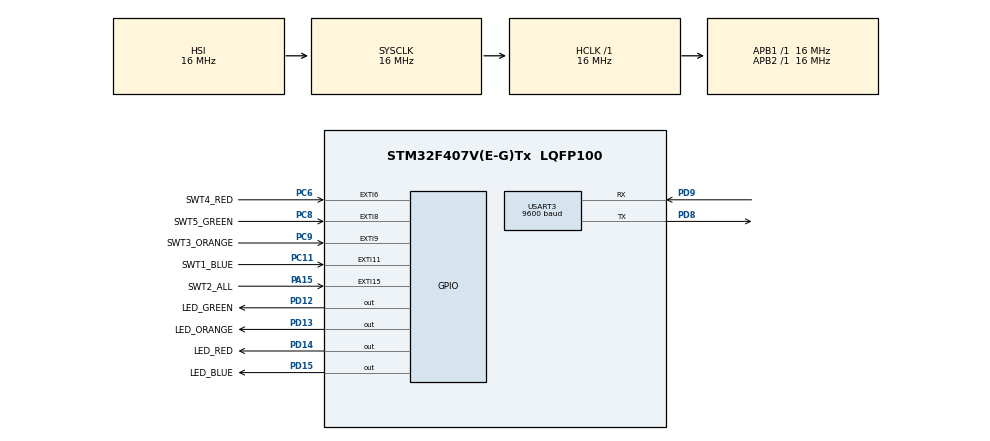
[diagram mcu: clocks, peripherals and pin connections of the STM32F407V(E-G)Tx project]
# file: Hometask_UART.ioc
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Mcu.Family=STM32F4
Mcu.Name=STM32F407V(E-G)Tx
Mcu.Package=LQFP100
NVIC.EXTI15_10_IRQn=true\:0\:0\:false\:false\:true\:true\:true\:true
NVIC.EXTI9_5_IRQn=true\:0\:0\:false\:false\:true\:true\:true\:true
NVIC.PriorityGroup=NVIC_PRIORITYGROUP_4
NVIC.USART3_IRQn=true\:0\:0\:false\:false\:true\:true\:true\:true
PA15.GPIO_Label=SWT2_ALL
PA15.Signal=GPXTI15
PC11.GPIO_Label=SWT1_BLUE
PC11.Signal=GPXTI11
PC6.GPIO_Label=SWT4_RED
PC6.Signal=GPXTI6
PC8.GPIO_Label=SWT5_GREEN
PC8.Signal=GPXTI8
PC9.GPIO_Label=SWT3_ORANGE
PC9.Signal=GPXTI9
PD12.GPIO_Label=LED_GREEN
PD12.Signal=GPIO_Output
PD13.GPIO_Label=LED_ORANGE
PD13.Signal=GPIO_Output
PD14.GPIO_Label=LED_RED
PD14.Signal=GPIO_Output
PD15.GPIO_Label=LED_BLUE
PD15.Signal=GPIO_Output
PD8.Mode=Asynchronous
PD8.Signal=USART3_TX
PD9.Mode=Asynchronous
PD9.Signal=USART3_RX
ProjectManager.HeapSize=0x200
ProjectManager.StackSize=0x400
ProjectManager.TargetToolchain=STM32CubeIDE
RCC.AHBFreq_Value=16000000
RCC.APB1Freq_Value=16000000
RCC.APB2Freq_Value=16000000
RCC.CortexFreq_Value=16000000
RCC.HSE_VALUE=25000000
RCC.HSI_VALUE=16000000
RCC.LSE_VALUE=32768
RCC.SYSCLKFreq_VALUE=16000000
RCC.VCOOutputFreq_Value=192000000
USART3.BaudRate=9600
USART3.VirtualMode=VM_ASYNC
board=custom

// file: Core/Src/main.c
/* USER CODE BEGIN Header */
/**
  ******************************************************************************
  * @file           : main.c
  * @brief          : Main program body
  ******************************************************************************
  * @attention
  *
  * Copyright (c) 2026 STMicroelectronics.
  * All rights reserved.
  *
  * This software is licensed under terms that can be found in the LICENSE file
  * in the root directory of this software component.
  * If no LICENSE file comes with this software, it is provided AS-IS.
  *
  ******************************************************************************
  */
/* USER CODE END Header */
#include "main.h"

 UART_HandleTypeDef huart3;

void SystemClock_Config(void);
static void MX_GPIO_Init(void);
static void MX_USART3_UART_Init(void);

/* USER CODE BEGIN 0 */
void HAL_GPIO_EXTI_Callback(uint16_t GPIO_Pin){
	//debounce
	static uint32_t last_interrupt_time = 0;
	    uint32_t current_time = HAL_GetTick();
	if ((current_time - last_interrupt_time) < 50)
	return;

	switch (GPIO_Pin){
	case (SWT4_RED_Pin): {
		HAL_GPIO_TogglePin(GPIOD, LED_RED_Pin);
		if (HAL_GPIO_ReadPin(GPIOD, LED_RED_Pin) == GPIO_PIN_SET)
			HAL_UART_Transmit(&huart3, (uint8_t*) " - Red ON\r\n", 11, 100);
		else
			HAL_UART_Transmit(&huart3, (uint8_t*) " - Red OFF\r\n", 12, 100);
		break;
	}
	case (SWT1_BLUE_Pin): {
		HAL_GPIO_TogglePin(GPIOD, LED_BLUE_Pin);
		if (HAL_GPIO_ReadPin(GPIOD, LED_BLUE_Pin) == GPIO_PIN_SET)
			HAL_UART_Transmit(&huart3, (uint8_t*) " - Blue ON\r\n", 12, 100);
		else
			HAL_UART_Transmit(&huart3, (uint8_t*) " - Blue OFF\r\n", 13, 100);
		break;
	}
	case (SWT5_GREEN_Pin): {
		HAL_GPIO_TogglePin(GPIOD, LED_GREEN_Pin);
		if (HAL_GPIO_ReadPin(GPIOD, LED_GREEN_Pin) == GPIO_PIN_SET)
			HAL_UART_Transmit(&huart3, (uint8_t*) " - GREEN ON\r\n", 13, 100);
		else
			HAL_UART_Transmit(&huart3, (uint8_t*) " - GREEN OFF\r\n", 14, 100);
		break;
	}
	case (SWT3_ORANGE_Pin): {
		HAL_GPIO_TogglePin(GPIOD, LED_ORANGE_Pin);
		if (HAL_GPIO_ReadPin(GPIOD, LED_ORANGE_Pin) == GPIO_PIN_SET)
			HAL_UART_Transmit(&huart3, (uint8_t*) " - ORANGE ON\r\n", 14, 100);
		else
			HAL_UART_Transmit(&huart3, (uint8_t*) " - ORANGE OFF\r\n", 15, 100);
		break;
	}
	case (SWT2_ALL_Pin): {
		HAL_GPIO_TogglePin(GPIOD,
		LED_BLUE_Pin | LED_RED_Pin | LED_ORANGE_Pin | LED_GREEN_Pin);
		HAL_UART_Transmit(&huart3, (uint8_t*) " - TOGGLED ALL\r\n", 16, 100);
		break;
	}
	}
	last_interrupt_time = current_time;
	return;
}
/* USER CODE END 0 */

int main(void)
{

  /* MCU Configuration--------------------------------------------------------*/

  /* Reset of all peripherals, Initializes the Flash interface and the Systick. */
  HAL_Init();

  /* Configure the system clock */
  SystemClock_Config();

  /* Initialize all configured peripherals */
  MX_GPIO_Init();
  MX_USART3_UART_Init();

  /* Infinite loop */
  /* USER CODE BEGIN WHILE */
  while (1)
  {
	  uint8_t rcvBuf[1];
	  HAL_StatusTypeDef result;
	  result = HAL_UART_Receive(&huart3, rcvBuf, 1, 10);

	  if (result == HAL_OK)
	  {
			switch (rcvBuf[0]) {

			case ('1'): {
				HAL_GPIO_TogglePin(GPIOD, LED_RED_Pin);
				if (HAL_GPIO_ReadPin(GPIOD, LED_RED_Pin) == GPIO_PIN_SET)
					HAL_UART_Transmit(&huart3, (uint8_t*) " - Red ON\r\n", 11,
							100);
				else
					HAL_UART_Transmit(&huart3, (uint8_t*) " - Red OFF\r\n", 12,
							100);
				break;
			}
			case ('2'): {
				HAL_GPIO_TogglePin(GPIOD, LED_BLUE_Pin);
				if (HAL_GPIO_ReadPin(GPIOD, LED_BLUE_Pin) == GPIO_PIN_SET)
					HAL_UART_Transmit(&huart3, (uint8_t*) " - Blue ON\r\n", 12,
							100);
				else
					HAL_UART_Transmit(&huart3, (uint8_t*) " - Blue OFF\r\n", 13,
							100);
				break;
			}
			case ('3'): {
				HAL_GPIO_TogglePin(GPIOD, LED_GREEN_Pin);
				if (HAL_GPIO_ReadPin(GPIOD, LED_GREEN_Pin) == GPIO_PIN_SET)
					HAL_UART_Transmit(&huart3, (uint8_t*) " - GREEN ON\r\n", 13,
							100);
				else
					HAL_UART_Transmit(&huart3, (uint8_t*) " - GREEN OFF\r\n", 14,
							100);
				break;
			}
			case ('4'): {
				HAL_GPIO_TogglePin(GPIOD, LED_ORANGE_Pin);
				if (HAL_GPIO_ReadPin(GPIOD, LED_ORANGE_Pin) == GPIO_PIN_SET)
					HAL_UART_Transmit(&huart3, (uint8_t*) " - ORANGE ON\r\n", 14,
							100);
				else
					HAL_UART_Transmit(&huart3, (uint8_t*) " - ORANGE OFF\r\n",
							15, 100);
				break;
			}
			case ('5'): {
				HAL_GPIO_TogglePin(GPIOD,
						LED_BLUE_Pin | LED_RED_Pin | LED_ORANGE_Pin| LED_GREEN_Pin);
				HAL_UART_Transmit(&huart3, (uint8_t*) " - TOGGLED ALL\r\n", 16, 100);
				break;
			}
		  default:{
			  HAL_UART_Transmit(&huart3, (uint8_t *)" - UnexpCmd\r\n", 13, 100);
			  break;
		  }
		  }
	  }
    /* USER CODE END WHILE */

  }
}

void SystemClock_Config(void)
{
  RCC_OscInitTypeDef RCC_OscInitStruct = {0};
  RCC_ClkInitTypeDef RCC_ClkInitStruct = {0};

  /** Configure the main internal regulator output voltage
  */
  __HAL_RCC_PWR_CLK_ENABLE();
  __HAL_PWR_VOLTAGESCALING_CONFIG(PWR_REGULATOR_VOLTAGE_SCALE1);

  /** Initializes the RCC Oscillators according to the specified parameters
  * in the RCC_OscInitTypeDef structure.
  */
  RCC_OscInitStruct.OscillatorType = RCC_OSCILLATORTYPE_HSI;
  RCC_OscInitStruct.HSIState = RCC_HSI_ON;
  RCC_OscInitStruct.HSICalibrationValue = RCC_HSICALIBRATION_DEFAULT;
  RCC_OscInitStruct.PLL.PLLState = RCC_PLL_NONE;
  if (HAL_RCC_OscConfig(&RCC_OscInitStruct) != HAL_OK)
  {
    Error_Handler();
  }

  /** Initializes the CPU, AHB and APB buses clocks
  */
  RCC_ClkInitStruct.ClockType = RCC_CLOCKTYPE_HCLK|RCC_CLOCKTYPE_SYSCLK
                              |RCC_CLOCKTYPE_PCLK1|RCC_CLOCKTYPE_PCLK2;
  RCC_ClkInitStruct.SYSCLKSource = RCC_SYSCLKSOURCE_HSI;
  RCC_ClkInitStruct.AHBCLKDivider = RCC_SYSCLK_DIV1;
  RCC_ClkInitStruct.APB1CLKDivider = RCC_HCLK_DIV1;
  RCC_ClkInitStruct.APB2CLKDivider = RCC_HCLK_DIV1;

  if (HAL_RCC_ClockConfig(&RCC_ClkInitStruct, FLASH_LATENCY_0) != HAL_OK)
  {
    Error_Handler();
  }
}

static void MX_USART3_UART_Init(void)
{

  huart3.Instance = USART3;
  huart3.Init.BaudRate = 9600;
  huart3.Init.WordLength = UART_WORDLENGTH_8B;
  huart3.Init.StopBits = UART_STOPBITS_1;
  huart3.Init.Parity = UART_PARITY_NONE;
  huart3.Init.Mode = UART_MODE_TX_RX;
  huart3.Init.HwFlowCtl = UART_HWCONTROL_NONE;
  huart3.Init.OverSampling = UART_OVERSAMPLING_16;
  if (HAL_UART_Init(&huart3) != HAL_OK)
  {
    Error_Handler();
  }

}

static void MX_GPIO_Init(void)
{
  GPIO_InitTypeDef GPIO_InitStruct = {0};

  /* GPIO Ports Clock Enable */
  __HAL_RCC_GPIOD_CLK_ENABLE();
  __HAL_RCC_GPIOC_CLK_ENABLE();
  __HAL_RCC_GPIOA_CLK_ENABLE();

  /*Configure GPIO pin Output Level */
  HAL_GPIO_WritePin(GPIOD, LED_GREEN_Pin|LED_ORANGE_Pin|LED_RED_Pin|LED_BLUE_Pin, GPIO_PIN_RESET);

  /*Configure GPIO pins : LED_GREEN_Pin LED_ORANGE_Pin LED_RED_Pin LED_BLUE_Pin */
  GPIO_InitStruct.Pin = LED_GREEN_Pin|LED_ORANGE_Pin|LED_RED_Pin|LED_BLUE_Pin;
  GPIO_InitStruct.Mode = GPIO_MODE_OUTPUT_PP;
  GPIO_InitStruct.Pull = GPIO_NOPULL;
  GPIO_InitStruct.Speed = GPIO_SPEED_FREQ_LOW;
  HAL_GPIO_Init(GPIOD, &GPIO_InitStruct);

  /*Configure GPIO pins : SWT4_RED_Pin SWT5_GREEN_Pin SWT3_ORANGE_Pin SWT1_BLUE_Pin */
  GPIO_InitStruct.Pin = SWT4_RED_Pin|SWT5_GREEN_Pin|SWT3_ORANGE_Pin|SWT1_BLUE_Pin;
  GPIO_InitStruct.Mode = GPIO_MODE_IT_RISING;
  GPIO_InitStruct.Pull = GPIO_NOPULL;
  HAL_GPIO_Init(GPIOC, &GPIO_InitStruct);

  /*Configure GPIO pin : SWT2_ALL_Pin */
  GPIO_InitStruct.Pin = SWT2_ALL_Pin;
  GPIO_InitStruct.Mode = GPIO_MODE_IT_RISING;
  GPIO_InitStruct.Pull = GPIO_NOPULL;
  HAL_GPIO_Init(SWT2_ALL_GPIO_Port, &GPIO_InitStruct);

  /* EXTI interrupt init*/
  HAL_NVIC_SetPriority(EXTI9_5_IRQn, 0, 0);
  HAL_NVIC_EnableIRQ(EXTI9_5_IRQn);

  HAL_NVIC_SetPriority(EXTI15_10_IRQn, 0, 0);
  HAL_NVIC_EnableIRQ(EXTI15_10_IRQn);

}

void Error_Handler(void)
{
  __disable_irq();
  while (1)
  {
  }
}
